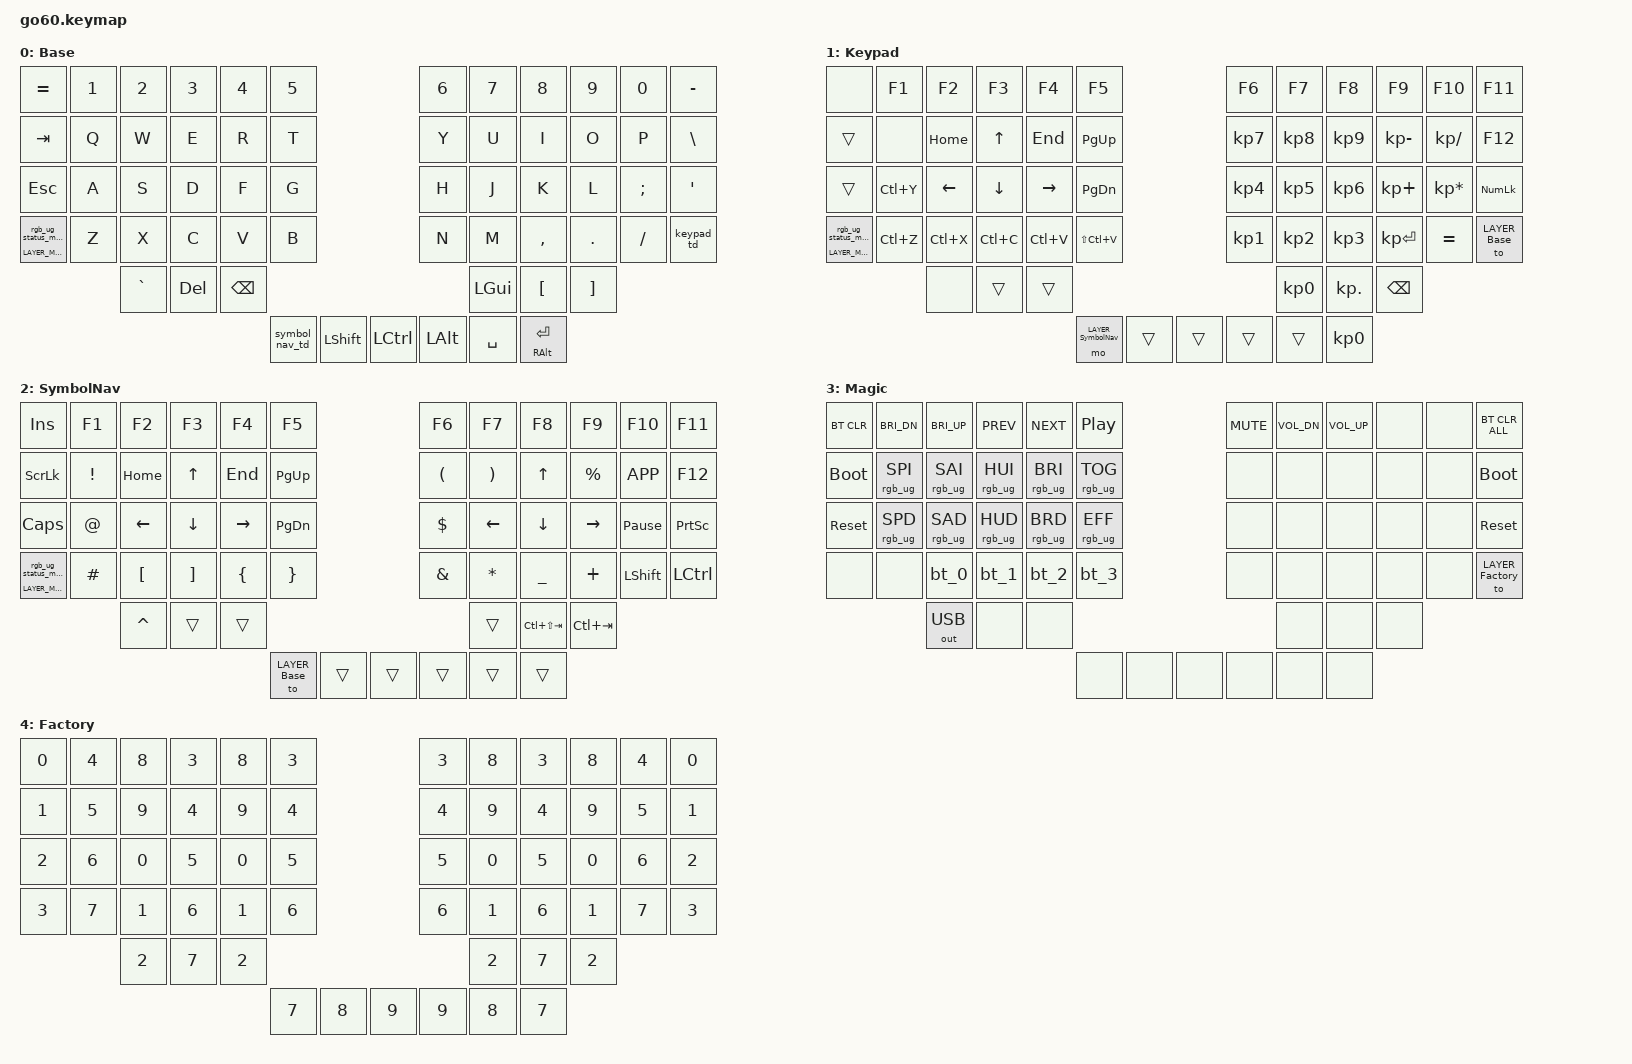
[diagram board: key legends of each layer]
/* Generated by Keyboard Curator. Change the board or the layout there, not this file. */

#include <behaviors.dtsi>
#include <dt-bindings/zmk/keys.h>
#include <dt-bindings/zmk/bt.h>
#include <dt-bindings/zmk/outputs.h>
#include <dt-bindings/zmk/rgb.h>
#include <dt-bindings/zmk/ext_power.h>
#include <dt-bindings/zmk/pointing.h>
#include <input/processors.dtsi>
#include <dt-bindings/zmk/input_transform.h>
#include <zephyr/dt-bindings/input/input-event-codes.h>

#define LAYER_Base 0
#define LAYER_Keypad 1
#define LAYER_SymbolNav 2
#define LAYER_Magic 3
#define LAYER_Factory 4

/ {
    underglow-layer {
        compatible = "zmk,underglow-layer";

        lighting_0_Base {
            layer-id = <LAYER_Base>;
            bindings = <
                &ug 0x000000  &ug_cl 0x000000 0xFF0000  &ug_nl 0x000020 0x0000FF  &ug_sl 0x002000 0x00FF00  &ug_b2 0xFF0000 0x00FF00  &ug_b4 0xFF0000 0x00FF00                                                                        &ug_b6 0xFF0000 0x00FF00  &ug_b8 0xFF0000 0x00FF00  &ug 0x2040B0  &ug 0x2440AD  &ug 0x2840AA  &ug 0x2C40A7
                &ug 0x3040A4  &ug 0x3440A1              &ug 0x38409E              &ug 0x3C409B              &ug 0x404098              &ug 0x444095                                                                                    &ug 0x484092              &ug 0x4C408F              &ug 0x50408C  &ug 0x544089  &ug 0x584086  &ug 0x5C4083
                &ug 0x604080  &ug 0x64407D              &ug 0x68407A              &ug 0x6C4077              &ug 0x704074              &ug 0x744071                                                                                    &ug 0x78406E              &ug 0x7C406B              &ug 0x804068  &ug 0x844065  &ug 0x884062  &ug 0x8C405F
                &ug 0x90405C  &ug 0x944059              &ug 0x984056              &ug 0x9C4053              &ug 0xA04050              &ug 0xA4404D                                                                                    &ug 0xA8404A              &ug 0xAC4047              &ug 0xB04044  &ug 0xB44041  &ug 0xB8403E  &ug 0xBC403B
                                                        &ug 0xC04038              &ug 0xC44035              &ug 0xC84032                                                                                                                                        &ug 0xCC402F              &ug 0xD0402C  &ug 0xD44029
                                                                                                                                      &ug 0xD84026              &ug 0xDC4023  &ug 0xE04020  &ug 0xE4401D  &ug 0xE8401A  &ug 0xEC4017
            >;
        };

        lighting_1_Keypad {
            layer-id = <LAYER_Keypad>;
            fade-delay = <15>;
            bindings = <
                &ug 0xFFA000  &trans  &trans        &ug 0xFFA000  &trans  &trans                                                      &ug 0xFFA000  &trans        &trans  &ug 0xFFA000  &trans  &trans
                &ug 0xFFA000  &trans  &trans        &ug 0xFFA000  &trans  &trans                                                      &ug 0xFFA000  &trans        &trans  &ug 0xFFA000  &trans  &trans
                &ug 0xFFA000  &trans  &trans        &ug 0xFFA000  &trans  &trans                                                      &ug 0xFFA000  &trans        &trans  &ug 0xFFA000  &trans  &trans
                &ug 0xFFA000  &trans  &trans        &ug 0xFFA000  &trans  &trans                                                      &ug 0xFFA000  &trans        &trans  &ug 0xFFA000  &trans  &trans
                                      &ug 0xFFA000  &trans        &trans                                                                            &ug 0xFFA000  &trans  &trans
                                                                          &ug 0xFFA000  &trans  &trans  &ug 0xFFA000  &trans  &trans
            >;
        };

        lighting_2_SymbolNav {
            layer-id = <LAYER_SymbolNav>;
            bindings = <
                &trans  &trans  &trans  &trans  &trans  &trans                                                &trans  &trans  &trans  &trans  &trans  &trans
                &trans  &trans  &trans  &trans  &trans  &trans                                                &trans  &trans  &trans  &trans  &trans  &trans
                &trans  &trans  &trans  &trans  &trans  &trans                                                &trans  &trans  &trans  &trans  &trans  &trans
                &trans  &trans  &trans  &trans  &trans  &trans                                                &trans  &trans  &trans  &trans  &trans  &trans
                                &trans  &trans  &trans                                                                &trans  &trans  &trans
                                                        &trans  &trans  &trans  &trans  &trans  &ug 0x800080
            >;
        };
    };

    input_processors {
        zip_click_to_right_click_mapper: zip_click_to_right_click_mapper {
            compatible = "zmk,input-processor-code-mapper";
            #input-processor-cells = <0>;
            type = <INPUT_EV_KEY>;
            map = <INPUT_BTN_0 INPUT_BTN_1>;
        };
    };

    behaviors {
        // Template: Magic
        magic: magic {
            compatible = "zmk,behavior-hold-tap";
            #binding-cells = <2>;
            flavor = "tap-preferred";
            tapping-term-ms = <200>;
            bindings = <&mo>, <&rgb_ug_status_macro>;
        };
        // Key 47 on Base: Keypad while held; tap twice for Switch to Keypad
        keypad_td: keypad_td {
            compatible = "zmk,behavior-tap-dance";
            #binding-cells = <0>;
            tapping-term-ms = <200>;
            bindings = <&mo LAYER_Keypad>, <&to LAYER_Keypad>;
        };
        // Key 54 on Base: SymbolNav while held; tap twice for Switch to SymbolNav
        symbol_nav_td: symbol_nav_td {
            compatible = "zmk,behavior-tap-dance";
            #binding-cells = <0>;
            tapping-term-ms = <200>;
            bindings = <&mo LAYER_SymbolNav>, <&to LAYER_SymbolNav>;
        };
        // Key 38 on Magic: Macro: Select Bluetooth 1; tap twice for BT 0 off
        bt_0: bt_0 {
            compatible = "zmk,behavior-tap-dance";
            #binding-cells = <0>;
            tapping-term-ms = <200>;
            bindings = <&bt_select_0>, <&bt BT_DISC 0>;
        };
        // Key 39 on Magic: Macro: Select Bluetooth 2; tap twice for BT 1 off
        bt_1: bt_1 {
            compatible = "zmk,behavior-tap-dance";
            #binding-cells = <0>;
            tapping-term-ms = <200>;
            bindings = <&bt_select_1>, <&bt BT_DISC 1>;
        };
        // Key 40 on Magic: Macro: Select Bluetooth 3; tap twice for BT 2 off
        bt_2: bt_2 {
            compatible = "zmk,behavior-tap-dance";
            #binding-cells = <0>;
            tapping-term-ms = <200>;
            bindings = <&bt_select_2>, <&bt BT_DISC 2>;
        };
        // Key 41 on Magic: Macro: Select Bluetooth 4; tap twice for BT 3 off
        bt_3: bt_3 {
            compatible = "zmk,behavior-tap-dance";
            #binding-cells = <0>;
            tapping-term-ms = <200>;
            bindings = <&bt_select_3>, <&bt BT_DISC 3>;
        };
    };

    macros {
        // Key 36 on Base: Macro: Show status lights, hold for Magic
        rgb_ug_status_macro: rgb_ug_status_macro {
            compatible = "zmk,behavior-macro";
            #binding-cells = <0>;
            bindings
                = <&macro_tap &rgb_ug RGB_STATUS>
                ;
        };
        // Key 38 on Magic: Macro: Select Bluetooth 1; tap twice for BT 0 off
        bt_select_0: bt_select_0 {
            compatible = "zmk,behavior-macro";
            #binding-cells = <0>;
            bindings
                = <&macro_tap &out OUT_BLE &bt BT_SEL 0>
                ;
        };
        // Key 39 on Magic: Macro: Select Bluetooth 2; tap twice for BT 1 off
        bt_select_1: bt_select_1 {
            compatible = "zmk,behavior-macro";
            #binding-cells = <0>;
            bindings
                = <&macro_tap &out OUT_BLE &bt BT_SEL 1>
                ;
        };
        // Key 40 on Magic: Macro: Select Bluetooth 3; tap twice for BT 2 off
        bt_select_2: bt_select_2 {
            compatible = "zmk,behavior-macro";
            #binding-cells = <0>;
            bindings
                = <&macro_tap &out OUT_BLE &bt BT_SEL 2>
                ;
        };
        // Key 41 on Magic: Macro: Select Bluetooth 4; tap twice for BT 3 off
        bt_select_3: bt_select_3 {
            compatible = "zmk,behavior-macro";
            #binding-cells = <0>;
            bindings
                = <&macro_tap &out OUT_BLE &bt BT_SEL 3>
                ;
        };
    };

    keymap {
        compatible = "zmk,keymap";

        layer_0_Base {
            display-name = "Base";
            bindings = <
                &kp EQUAL             &kp N1  &kp N2     &kp N3   &kp N4    &kp N5                                                                   &kp N6  &kp N7    &kp N8     &kp N9    &kp N0    &kp MINUS
                &kp TAB               &kp Q   &kp W      &kp E    &kp R     &kp T                                                                    &kp Y   &kp U     &kp I      &kp O     &kp P     &kp BSLH
                &kp ESC               &kp A   &kp S      &kp D    &kp F     &kp G                                                                    &kp H   &kp J     &kp K      &kp L     &kp SEMI  &kp SQT
                &magic LAYER_Magic 0  &kp Z   &kp X      &kp C    &kp V     &kp B                                                                    &kp N   &kp M     &kp COMMA  &kp DOT   &kp FSLH  &keypad_td
                                              &kp GRAVE  &kp DEL  &kp BSPC                                                                                   &kp LGUI  &kp LBKT   &kp RBKT
                                                                            &symbol_nav_td  &kp LSHFT  &kp LCTRL  &kp LALT  &kp SPACE  &mt RALT RET
            >;
        };

        layer_1_Keypad {
            display-name = "Keypad";
            bindings = <
                &none                 &kp F1     &kp F2     &kp F3     &kp F4     &kp F5                                                          &kp F6     &kp F7     &kp F8      &kp F9        &kp F10          &kp F11
                &trans                &none      &kp HOME   &kp UP     &kp END    &kp PG_UP                                                       &kp KP_N7  &kp KP_N8  &kp KP_N9   &kp KP_MINUS  &kp KP_SLASH     &kp F12
                &trans                &kp LC(Y)  &kp LEFT   &kp DOWN   &kp RIGHT  &kp PG_DN                                                       &kp KP_N4  &kp KP_N5  &kp KP_N6   &kp KP_PLUS   &kp KP_MULTIPLY  &kp KP_NUM
                &magic LAYER_Magic 0  &kp LC(Z)  &kp LC(X)  &kp LC(C)  &kp LC(V)  &kp LS(LC(V))                                                   &kp KP_N1  &kp KP_N2  &kp KP_N3   &kp KP_ENTER  &kp EQUAL        &to LAYER_Base
                                                 &none      &trans     &trans                                                                                &kp KP_N0  &kp KP_DOT  &kp BSPC
                                                                                  &mo LAYER_SymbolNav  &trans  &trans  &trans  &trans  &kp KP_N0
            >;
        };

        layer_2_SymbolNav {
            display-name = "SymbolNav";
            bindings = <
                &kp INS               &kp F1    &kp F2     &kp F3    &kp F4     &kp F5                                                  &kp F6    &kp F7    &kp F8           &kp F9       &kp F10          &kp F11
                &kp SLCK              &kp EXCL  &kp HOME   &kp UP    &kp END    &kp PG_UP                                               &kp LPAR  &kp RPAR  &kp UP           &kp PRCNT    &kp K_APP        &kp F12
                &kp CAPS              &kp AT    &kp LEFT   &kp DOWN  &kp RIGHT  &kp PG_DN                                               &kp DLLR  &kp LEFT  &kp DOWN         &kp RIGHT    &kp PAUSE_BREAK  &kp PSCRN
                &magic LAYER_Magic 0  &kp HASH  &kp LBKT   &kp RBKT  &kp LBRC   &kp RBRC                                                &kp AMPS  &kp STAR  &kp UNDER        &kp PLUS     &kp LSHFT        &kp LCTRL
                                                &kp CARET  &trans    &trans                                                                       &trans    &kp LC(LS(TAB))  &kp LC(TAB)
                                                                                &to LAYER_Base  &trans  &trans  &trans  &trans  &trans
            >;
        };

        layer_3_Magic {
            display-name = "Magic";
            bindings = <
                &bt BT_CLR   &kp C_BRI_DN     &kp C_BRI_UP     &kp C_PREV       &kp C_NEXT       &kp C_PP                                            &kp C_MUTE  &kp C_VOL_DN  &kp C_VOL_UP  &none  &none  &bt BT_CLR_ALL
                &bootloader  &rgb_ug RGB_SPI  &rgb_ug RGB_SAI  &rgb_ug RGB_HUI  &rgb_ug RGB_BRI  &rgb_ug RGB_TOG                                     &none       &none         &none         &none  &none  &bootloader
                &sys_reset   &rgb_ug RGB_SPD  &rgb_ug RGB_SAD  &rgb_ug RGB_HUD  &rgb_ug RGB_BRD  &rgb_ug RGB_EFF                                     &none       &none         &none         &none  &none  &sys_reset
                &none        &none            &bt_0            &bt_1            &bt_2            &bt_3                                               &none       &none         &none         &none  &none  &to LAYER_Factory
                                              &out OUT_USB     &none            &none                                                                            &none         &none         &none
                                                                                                 &none            &none  &none  &none  &none  &none
            >;
        };

        layer_4_Factory {
            display-name = "Factory";
            bindings = <
                &kp N0  &kp N4  &kp N8  &kp N3  &kp N8  &kp N3                                          &kp N3  &kp N8  &kp N3  &kp N8  &kp N4  &kp N0
                &kp N1  &kp N5  &kp N9  &kp N4  &kp N9  &kp N4                                          &kp N4  &kp N9  &kp N4  &kp N9  &kp N5  &kp N1
                &kp N2  &kp N6  &kp N0  &kp N5  &kp N0  &kp N5                                          &kp N5  &kp N0  &kp N5  &kp N0  &kp N6  &kp N2
                &kp N3  &kp N7  &kp N1  &kp N6  &kp N1  &kp N6                                          &kp N6  &kp N1  &kp N6  &kp N1  &kp N7  &kp N3
                                &kp N2  &kp N7  &kp N2                                                          &kp N2  &kp N7  &kp N2
                                                        &kp N7  &kp N8  &kp N9  &kp N9  &kp N8  &kp N7
            >;
        };
    };
};

&cirque_rh_listener {
    input-processors = <&zip_xy_scaler 3 1>;
    override_0 {
        layers = <LAYER_SymbolNav>;
        input-processors = <&zip_xy_scaler 9 1>;
    };
};

&cirque_lh_listener {
    input-processors = <&zip_xy_to_scroll_mapper>, <&zip_xy_scaler 1 8>, <&zip_click_to_right_click_mapper>;
    override_0 {
        layers = <LAYER_Factory>;
        input-processors = <&zip_xy_scaler 3 1>;
    };
};
